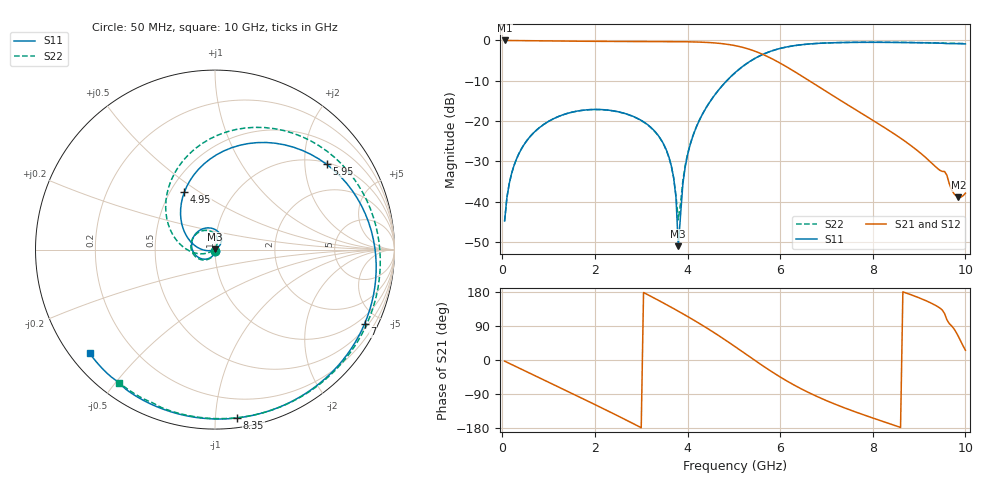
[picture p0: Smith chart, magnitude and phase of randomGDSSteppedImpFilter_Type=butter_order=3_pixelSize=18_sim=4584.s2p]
! freq	dB(S11)	phase(S11)	dB(S12)	phase(S12)
!  dB(S21)	phase(S21)	dB(S22)	phase(S22)
!S-par simulation data
#  GHz  S  DB  R 50
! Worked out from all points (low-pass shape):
!   200 points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, 50 MHz to 10 GHz, reference 50 ohm
!   highest |S21| = -0.01 dB at 50 MHz (marker M1); lowest = -38.9 dB at 9.85 GHz (marker M2)
!   |S21| within 3 dB of the highest: start of sweep to 5.53 GHz
!   lowest |S11| = -51.0 dB at 3.8 GHz (marker M3), VSWR 1.01, Z = 50.2 + j0.231 ohm
!   |S11| at or under -10 dB: start of sweep to 4.846 GHz
!   |S22| runs from -44.8 to -0.4 dB; largest |S21 - S12| = 0
!   S11 on the Smith chart (normalised r, x): 50 MHz: 1.00, -0.01; 4.95 GHz: 0.59, +0.43; 5.95 GHz: 1.05, +2.57; 7 GHz: 0.67, -4.15; 8.35 GHz: 0.06, -1.14; 10 GHz: 0.06, -0.36
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0.05  -44.79 -89.6  -0.01 -3.0  -0.01 -3.0  -44.79 -89.2
0.2  -33.05 -101.5  -0.02 -11.8  -0.02 -11.8  -33.04 -100.4
0.5  -25.33 -121.0  -0.05 -29.4  -0.05 -29.4  -25.33 -118.3
1.15  -19.18 -161.5  -0.13 -67.5  -0.13 -67.5  -19.18 -155.1
1.75  -17.30 161.0  -0.20 -102.7  -0.20 -102.7  -17.31 171.3
2.65  -18.12 103.7  -0.26 -156.9  -0.26 -156.9  -18.16 120.8
3.4  -24.10 54.4  -0.28 155.6  -0.28 155.6  -24.18 78.3
3.7  -34.06 36.3  -0.30 135.7  -0.30 135.7  -34.08 70.4
3.75  -38.85 35.6  -0.30 132.3  -0.30 132.3  -38.46 78.7
3.8  -51.04 55.1  -0.31 128.8  -0.31 128.8  -44.51 121.1
3.9  -35.53 -166.1  -0.32 121.9  -0.32 121.9  -34.74 -157.8
4.1  -24.27 -177.2  -0.36 107.8  -0.36 107.8  -24.17 -158.9
4.5  -14.93 153.7  -0.55 77.9  -0.55 77.9  -14.93 174.9
4.95  -8.80 118.1  -1.13 41.7  -1.13 41.7  -8.83 139.5
5.05  -7.75 109.8  -1.34 33.3  -1.34 33.3  -7.79 131.1
5.55  -3.87 68.5  -3.10 -9.1  -3.10 -9.1  -3.90 88.5
5.95  -2.13 37.4  -5.31 -41.0  -5.31 -41.0  -2.15 56.1
6.7  -0.81 -10.7  -10.52 -90.8  -10.52 -90.8  -0.82 5.7
7  -0.63 -26.5  -12.70 -107.2  -12.70 -107.2  -0.63 -10.8
8.35  -0.48 -82.5  -22.33 -167.6  -22.33 -167.6  -0.46 -69.0
9.85  -0.80 -134.7  -38.90 61.9  -38.90 61.9  -0.74 -120.4
10  -0.86 -140.3  -37.89 25.8  -37.89 25.8  -0.78 -125.6
